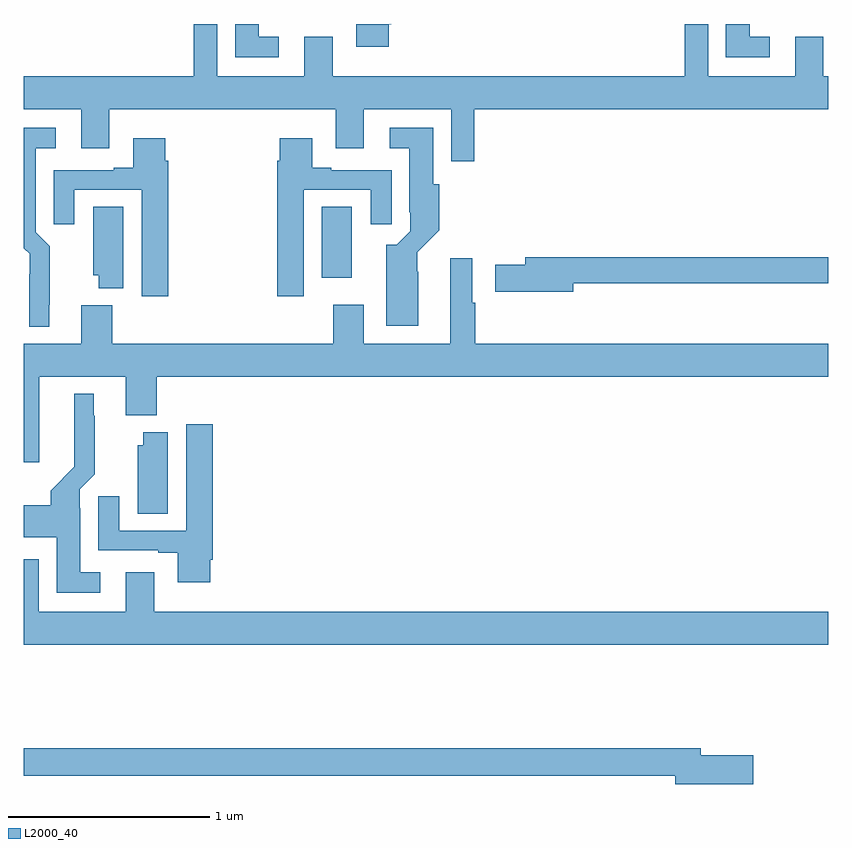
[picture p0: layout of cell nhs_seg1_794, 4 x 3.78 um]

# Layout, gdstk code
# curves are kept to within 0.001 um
import gdstk
lib = gdstk.Library(unit=1e-6, precision=1e-09)
def R(c, l, rs):  # rectangles x0, y0, x1, y1
    for r in rs: c.add(gdstk.rectangle(r[:2], r[2:], *l))
def P(c, l, *ps):  # polygons
    for p in ps: c.add(gdstk.Polygon(p, *l))
L2000_40 = (2000, 40)

nhs_seg1_794 = lib.new_cell('nhs_seg1_794')
R(nhs_seg1_794, L2000_40, [(156.482,506.937,156.631,507.29)])
P(nhs_seg1_794, L2000_40, [(156.535,508.135),(156.395,508.135),(156.395,507.94),(155.961,507.94),(155.961,508.199),(155.845,508.199),(155.845,507.94),(155,507.94),(155,507.776),(155.285,507.776),(155.285,507.582),(155.425,507.582),(155.425,507.776),(156.551,507.776),(156.551,507.582),(156.691,507.582),(156.691,507.776),(157.125,507.776),(157.125,507.516),(157.241,507.516),(157.241,507.776),(159,507.776),(159,507.94),(158.977,507.94),(158.977,508.135),(158.837,508.135),(158.837,507.94),(158.403,507.94),(158.403,508.199),(158.287,508.199),(158.287,507.94),(156.535,507.94)],
  [(156.814,508.198),(156.827,508.198),(156.827,508.199),(156.653,508.199),(156.653,508.086),(156.814,508.086)],
  [(158.71,508.135),(158.611,508.135),(158.611,508.199),(158.492,508.199),(158.492,508.034),(158.71,508.034)],
  [(156.268,508.135),(156.169,508.135),(156.169,508.199),(156.05,508.199),(156.05,508.034),(156.268,508.034)],
  [(155.125,506.803),(155.129,506.803),(155.129,507.094),(155.059,507.164),(155.059,507.581),(155.158,507.581),(155.158,507.682),(155,507.682),(155,507.084),(155.028,507.056),(155.027,506.693),(155.125,506.693)],
  [(156.961,506.966),(156.957,506.966),(156.957,507.064),(157.067,507.173),(157.067,507.402),(157.036,507.402),(157.036,507.682),(156.819,507.682),(156.819,507.581),(156.917,507.581),(156.917,507.262),(156.921,507.262),(156.921,507.168),(156.855,507.102),(156.803,507.102),(156.803,506.699),(156.961,506.699)],
  [(155.717,507.518),(155.704,507.518),(155.704,507.631),(155.543,507.631),(155.543,507.484),(155.447,507.484),(155.447,507.471),(155.147,507.471),(155.147,507.204),(155.251,507.204),(155.251,507.375),(155.585,507.375),(155.585,506.844),(155.717,506.844)],
  [(156.391,507.375),(156.725,507.375),(156.725,507.204),(156.829,507.204),(156.829,507.471),(156.529,507.471),(156.529,507.484),(156.433,507.484),(156.433,507.631),(156.272,507.631),(156.272,507.518),(156.26,507.518),(156.26,506.844),(156.391,506.844)],
  [(155.494,507.29),(155.345,507.29),(155.345,506.949),(155.372,506.949),(155.372,506.885),(155.494,506.885)],
  [(157.732,506.91),(159,506.91),(159,507.038),(157.493,507.038),(157.493,507.002),(157.344,507.002),(157.344,506.867),(157.732,506.867)],
  [(155.077,506.444),(155.507,506.444),(155.507,506.252),(155.66,506.252),(155.66,506.444),(159,506.444),(159,506.608),(157.244,506.608),(157.244,506.813),(157.231,506.813),(157.231,507.034),(157.121,507.034),(157.121,506.608),(156.691,506.608),(156.691,506.803),(156.539,506.803),(156.539,506.608),(155.438,506.608),(155.438,506.8),(155.285,506.8),(155.285,506.608),(155,506.608),(155,506.019),(155.077,506.019)],
  [(155.38,505.471),(155.281,505.471),(155.281,505.79),(155.277,505.79),(155.277,505.884),(155.351,505.958),(155.351,506.249),(155.347,506.249),(155.347,506.359),(155.249,506.359),(155.25,505.996),(155.132,505.878),(155.132,505.804),(155,505.804),(155,505.646),(155.162,505.646),(155.162,505.37),(155.38,505.37)],
  [(155.926,505.534),(155.939,505.534),(155.939,506.209),(155.807,506.209),(155.807,505.677),(155.473,505.677),(155.473,505.849),(155.369,505.849),(155.369,505.581),(155.669,505.581),(155.669,505.569),(155.765,505.569),(155.765,505.422),(155.926,505.422)],
  [(155.716,506.167),(155.594,506.167),(155.594,506.103),(155.567,506.103),(155.567,505.762),(155.716,505.762)],
  [(159,505.276),(155.647,505.276),(155.647,505.471),(155.507,505.471),(155.507,505.276),(155.073,505.276),(155.073,505.537),(155,505.537),(155,505.112),(159,505.112)],
  [(158.629,504.56),(158.368,504.56),(158.368,504.596),(155,504.596),(155,504.46),(158.24,504.46),(158.24,504.418),(158.629,504.418)])

lib.write_gds('nhs_seg1_794.gds')
